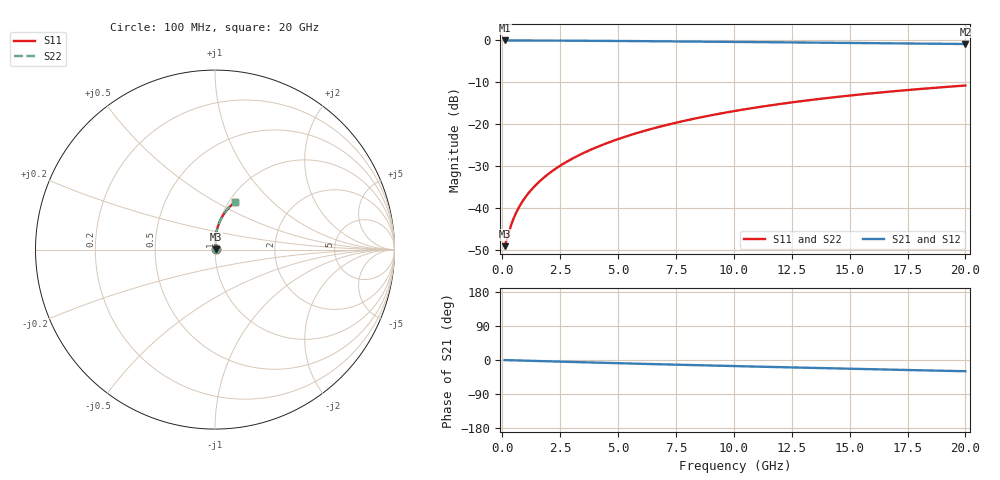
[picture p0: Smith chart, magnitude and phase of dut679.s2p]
! Touchstone file exported from HFSS 2024.1.0
!  File:  C:/UserFiles/LocalFiles/RDL_TSV_Batchsim/temp_RDL_top_679_1779782381.aedt
!  Generated:  04:01:49 PM May 26, 2026
!  Design:  RDL_top
!  Project:  temp_RDL_top_679_1779782381
!  Setup:  Setup1
!  Solution:  Sweep
! Variables:
!  dtsv = 10.80580581um
!  hbump = 3um
!  htsv = 57.65um
!  ldown = 100um
!  lrdl = 398.28um
!  p = 40
!  p1 = 48.77um
!  rhole = 1um
!  t = 450um
!  tdown = 3.915915916um
!  trdl = 2.09um
!  wdown = 15.38538539um
!  wrdl = 23.69um
# GHz S MA R 50.000000
! Terminal data exported
! Port[1] = Box2_T1
! Port[2] = Box2_T2
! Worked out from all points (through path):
!   200 points, 100 MHz to 20 GHz, reference 50 ohm
!   highest |S21| = -0.03 dB at 100 MHz (marker M1); lowest = -0.9 dB at 20 GHz (marker M2)
!   group delay of S21, straight-line fit = 4.08 ps
!   lowest |S11| = -49.1 dB at 100 MHz (marker M3), VSWR 1.01, Z = 50.3 + j0.143 ohm
!   |S11| at or under -10 dB: start of sweep to end of sweep
!   |S22| runs from -49.1 to -10.8 dB; largest |S21 - S12| = 2.1e-15
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0.1  0.003517 23.7  0.9968 -0.2  0.9968 -0.2  0.003517 23.7
! Gamma 0 0 0 0
! Port Impedance 50 0 50 0
0.3  0.005374 50.8  0.9965 -0.6  0.9965 -0.6  0.005374 50.8
0.4  0.006508 57.4  0.9964 -0.7  0.9964 -0.7  0.006508 57.4
0.6  0.008838 65.1  0.996 -1.1  0.996 -1.1  0.008838 65.1
0.7  0.01001 67.7  0.9958 -1.3  0.9958 -1.3  0.01001 67.7
0.9  0.01235 71.5  0.9955 -1.6  0.9955 -1.6  0.01235 71.5
1.2  0.01589 75.4  0.995 -2.1  0.995 -2.1  0.01589 75.4
1.4  0.01829 77.3  0.9946 -2.5  0.9946 -2.5  0.01829 77.3
1.7  0.02194 79.5  0.994 -3.0  0.994 -3.0  0.02194 79.5
2.2  0.02819 82.0  0.9928 -3.8  0.9928 -3.8  0.02819 82.0
2.8  0.03593 83.9  0.9911 -4.9  0.9911 -4.9  0.03593 83.9
3.5  0.04529 85.3  0.9887 -6.0  0.9887 -6.0  0.04529 85.3
4.2  0.05499 85.9  0.9861 -7.2  0.9861 -7.2  0.05499 85.9
5  0.06646 86.2  0.9827 -8.5  0.9827 -8.5  0.06646 86.2
5.9  0.07977 86.0  0.9786 -9.9  0.9786 -9.9  0.07978 86.0
6.8  0.09343 85.4  0.9742 -11.3  0.9742 -11.3  0.09344 85.5
8.4  0.1182 83.9  0.9662 -13.7  0.9662 -13.7  0.1182 83.9
10.1  0.1449 81.7  0.9574 -16.2  0.9574 -16.2  0.1449 81.7
11.7  0.1698 79.4  0.9491 -18.5  0.9491 -18.5  0.1698 79.4
13.4  0.1958 76.9  0.9401 -20.9  0.9401 -20.9  0.1958 76.9
16.7  0.2442 71.9  0.9223 -25.3  0.9223 -25.3  0.2443 71.9
20  0.2894 67.1  0.9042 -29.7  0.9042 -29.7  0.2895 67.1
